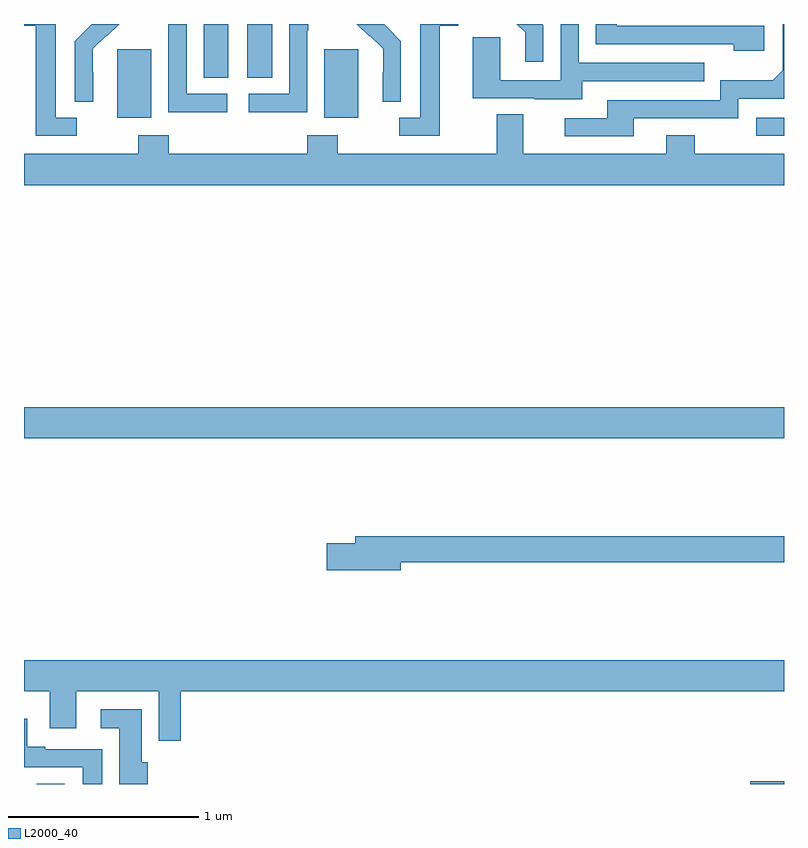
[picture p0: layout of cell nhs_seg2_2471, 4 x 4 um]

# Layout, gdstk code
import gdstk
lib = gdstk.Library(unit=1e-6, precision=1e-09)
def R(c, l, rs):  # rectangles x0, y0, x1, y1
    for r in rs: c.add(gdstk.rectangle(r[:2], r[2:], *l))
def P(c, l, *ps):  # polygons
    for p in ps: c.add(gdstk.Polygon(p, *l))
L2000_40 = (2000, 40)

nhs_seg2_2471 = lib.new_cell('nhs_seg2_2471')
R(nhs_seg2_2471, L2000_40, [(239.066,661.8,239.215,661.802), (242.822,661.8,243,661.815), (239,663.62,243,663.784), (242.853,665.211,243,665.307), (239.492,665.306,239.671,665.667), (240.581,665.306,240.76,665.667), (239.945,665.518,240.076,665.8), (240.176,665.518,240.307,665.8)])
P(nhs_seg2_2471, L2000_40, [(242.209,665.304),(242.76,665.304),(242.76,665.406),(243,665.406),(243,665.8),(242.994,665.8),(242.994,665.556),(242.941,665.503),(242.664,665.503),(242.664,665.4),(242.069,665.4),(242.069,665.304),(241.845,665.304),(241.845,665.208),(242.209,665.208)],
  [(241.189,665.792),(241.285,665.792),(241.285,665.8),(241.085,665.8),(241.085,665.307),(240.975,665.307),(240.975,665.211),(241.189,665.211)],
  [(241.939,665.499),(242.579,665.499),(242.579,665.595),(241.92,665.595),(241.92,665.8),(241.824,665.8),(241.824,665.505),(241.506,665.505),(241.506,665.729),(241.361,665.729),(241.361,665.409),(241.685,665.409),(241.685,665.405),(241.939,665.405)],
  [(242.896,665.79),(242.119,665.79),(242.119,665.8),(242.01,665.8),(242.01,665.694),(242.735,665.694),(242.735,665.66),(242.896,665.66)],
  [(240.984,665.71),(240.911,665.783),(240.912,665.784),(240.896,665.8),(240.752,665.8),(240.816,665.736),(240.819,665.739),(240.89,665.669),(240.89,665.546),(240.888,665.546),(240.888,665.392),(240.984,665.392)],
  [(240.492,665.764),(240.495,665.764),(240.495,665.8),(240.396,665.8),(240.396,665.433),(240.183,665.433),(240.183,665.335),(240.492,665.335)],
  [(241.734,665.794),(241.728,665.8),(241.594,665.8),(241.637,665.757),(241.637,665.601),(241.734,665.601)],
  [(239.364,665.546),(239.363,665.546),(239.363,665.669),(239.433,665.739),(239.436,665.736),(239.5,665.8),(239.356,665.8),(239.34,665.784),(239.341,665.783),(239.268,665.71),(239.268,665.392),(239.364,665.392)],
  [(240.07,665.433),(239.856,665.433),(239.856,665.8),(239.758,665.8),(239.758,665.764),(239.76,665.764),(239.76,665.335),(240.07,665.335)],
  [(239.278,665.307),(239.167,665.307),(239.167,665.8),(239,665.8),(239,665.792),(239.063,665.792),(239.063,665.211),(239.278,665.211)],
  [(243,665.116),(242.529,665.116),(242.529,665.215),(242.381,665.215),(242.381,665.116),(241.627,665.116),(241.627,665.324),(241.487,665.324),(241.487,665.116),(240.651,665.116),(240.651,665.215),(240.491,665.215),(240.491,665.116),(239.762,665.116),(239.762,665.215),(239.602,665.215),(239.602,665.116),(239,665.116),(239,664.952),(243,664.952)],
  [(240.982,662.968),(243,662.968),(243,663.104),(240.743,663.104),(240.743,663.068),(240.594,663.068),(240.594,662.926),(240.982,662.926)],
  [(239.825,662.288),(243,662.288),(243,662.452),(239,662.452),(239,662.288),(239.135,662.288),(239.135,662.094),(239.275,662.094),(239.275,662.288),(239.709,662.288),(239.709,662.028),(239.825,662.028)],
  [(239.651,661.914),(239.62,661.914),(239.62,662.194),(239.403,662.194),(239.403,662.093),(239.501,662.093),(239.501,661.8),(239.651,661.8)],
  [(239.413,661.983),(239.113,661.983),(239.113,661.996),(239.017,661.996),(239.017,662.143),(239,662.143),(239,661.887),(239.309,661.887),(239.309,661.8),(239.413,661.8)])

lib.write_gds('nhs_seg2_2471.gds')
